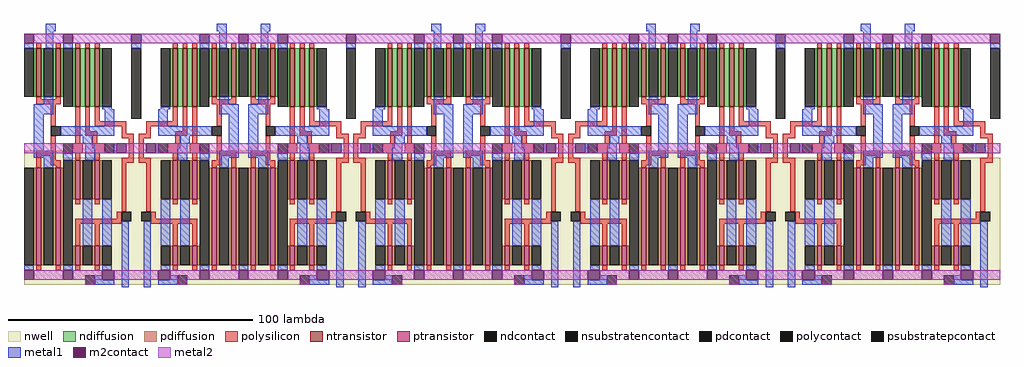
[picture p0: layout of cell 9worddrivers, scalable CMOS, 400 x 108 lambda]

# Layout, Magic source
magic
tech scmos
use worddriver worddriver_0
transform -1 0 52 0 -1 105
box -6 -2 42 106
use worddriver worddriver_1
transform 1 0 60 0 -1 105
box -6 -2 42 106
use worddriver worddriver_2
transform -1 0 140 0 -1 105
box -6 -2 42 106
use worddriver worddriver_3
transform 1 0 148 0 -1 105
box -6 -2 42 106
use worddriver worddriver_4
transform -1 0 228 0 -1 105
box -6 -2 42 106
use worddriver worddriver_5
transform 1 0 236 0 -1 105
box -6 -2 42 106
use worddriver worddriver_6
transform -1 0 316 0 -1 105
box -6 -2 42 106
use worddriver worddriver_7
transform 1 0 324 0 -1 105
box -6 -2 42 106
use worddriver worddriver_8
transform -1 0 404 0 -1 105
box -6 -2 42 106
<< end >>

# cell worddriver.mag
magic
tech scmos
<< nwell >>
rect -6 53 42 105
rect 26 50 42 53
<< polysilicon >>
rect 11 97 13 99
rect 19 97 21 99
rect 27 97 29 99
rect 35 97 37 99
rect 11 80 13 89
rect 19 80 21 89
rect 2 78 21 80
rect 2 75 4 78
rect 0 55 2 75
rect 11 70 13 72
rect 19 70 21 72
rect -3 53 2 55
rect 27 56 29 57
rect 27 54 31 56
rect -3 45 -1 53
rect 11 51 13 54
rect 19 51 21 54
rect 29 52 31 54
rect 35 52 37 57
rect 9 49 13 51
rect 9 47 14 49
rect 18 47 22 51
rect 29 50 37 52
rect -3 43 2 45
rect 0 40 2 43
rect 12 44 14 47
rect 12 42 17 44
rect 0 38 13 40
rect 11 32 13 38
rect 15 32 17 42
rect 19 32 21 47
rect 29 44 31 50
rect 29 31 31 40
rect 27 29 37 31
rect 27 28 29 29
rect 35 28 37 29
rect 11 6 13 8
rect 15 6 17 8
rect 19 6 21 8
rect 27 6 29 8
rect 35 6 37 8
<< ndiffusion >>
rect 10 8 11 32
rect 13 8 15 32
rect 17 8 19 32
rect 21 8 22 32
rect 26 8 27 28
rect 29 8 30 28
rect 34 8 35 28
rect 37 8 38 28
<< pdiffusion >>
rect 10 89 11 97
rect 13 89 14 97
rect 18 89 19 97
rect 21 89 22 97
rect 10 54 11 70
rect 13 54 14 70
rect 18 54 19 70
rect 21 54 22 70
rect 26 57 27 97
rect 29 57 30 97
rect 34 57 35 97
rect 37 57 38 97
<< metal1 >>
rect -1 79 2 106
rect 5 103 13 105
rect 10 101 13 103
rect 6 97 10 99
rect 22 97 26 99
rect 38 97 42 99
rect 6 70 10 89
rect 14 70 18 89
rect 4 47 5 51
rect 13 47 17 54
rect 22 51 26 54
rect 30 53 34 57
rect 30 50 38 53
rect 14 44 18 47
rect 5 40 27 44
rect 5 33 9 40
rect 34 35 38 50
rect 6 32 10 33
rect -6 6 -2 8
rect 22 6 26 8
rect 30 31 38 35
rect 30 28 34 31
rect 30 1 33 8
rect 38 6 42 8
rect 29 -2 33 1
<< metal2 >>
rect 13 103 17 105
rect -6 99 5 103
rect 10 99 22 103
rect 26 99 38 103
rect -6 47 0 51
rect 4 47 42 51
rect -2 2 22 6
rect 26 2 38 6
<< ntransistor >>
rect 11 8 13 32
rect 15 8 17 32
rect 19 8 21 32
rect 27 8 29 28
rect 35 8 37 28
<< ptransistor >>
rect 11 89 13 97
rect 19 89 21 97
rect 11 54 13 70
rect 19 54 21 70
rect 27 57 29 97
rect 35 57 37 97
<< polycontact >>
rect -2 75 2 79
rect 5 47 9 51
rect 22 47 26 51
rect 27 40 31 44
<< ndcontact >>
rect 6 8 10 32
rect 22 8 26 32
rect 30 8 34 28
rect 38 8 42 28
<< pdcontact >>
rect 6 89 10 97
rect 14 89 18 97
rect 6 54 10 70
rect 14 54 18 70
rect 22 54 26 97
rect 30 57 34 97
rect 38 57 42 97
<< m2contact >>
rect 5 99 10 103
rect 22 99 26 103
rect 38 99 42 103
rect 0 47 4 51
rect -6 2 -2 6
rect 22 2 26 6
rect 38 2 42 6
<< psubstratepcontact >>
rect -6 8 -2 37
<< nsubstratencontact >>
rect 13 101 17 105
<< labels >>
rlabel metal1 0 99 0 99 1 clock
rlabel metal2 -5 49 -5 49 7 qual
rlabel metal2 6 3 6 3 4 Gnd
rlabel metal1 31 -1 31 -1 1 wordline
rlabel metal2 32 101 32 101 2 Vdd
<< end >>
